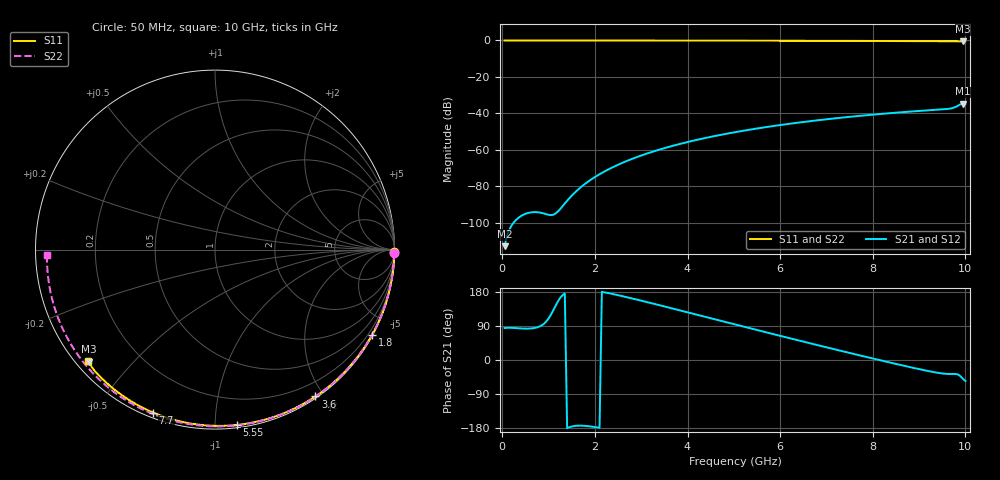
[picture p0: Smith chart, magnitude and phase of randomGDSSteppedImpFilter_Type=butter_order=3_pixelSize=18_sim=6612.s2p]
! freq	dB(S11)	phase(S11)	dB(S12)	phase(S12)
!  dB(S21)	phase(S21)	dB(S22)	phase(S22)
!S-par simulation data
#  GHz  S  DB  R 50
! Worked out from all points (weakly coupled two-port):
!   200 points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, 50 MHz to 10 GHz, reference 50 ohm
!   highest |S21| = -34.70 dB at 9.95 GHz (marker M1); lowest = -112.9 dB at 50 MHz (marker M2)
!   lowest |S11| = -0.5 dB at 9.95 GHz (marker M3), VSWR 32.25, Z = 1.78 - j19 ohm
!   |S11| at or under -10 dB: nowhere
!   |S22| runs from -0.6 to 0.0 dB; largest |S21 - S12| = 0
!   S11 on the Smith chart (normalised r, x): 50 MHz: open; 1.8 GHz: 0.03, -3.94; 3.6 GHz: 0.02, -1.90; 5.55 GHz: 0.02, -1.13; 7.7 GHz: 0.02, -0.69; 10 GHz: 0.04, -0.38
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0.05  -0.01 -0.8  -112.91 84.4  -112.91 84.4  -0.01 -1.1
0.85  -0.02 -13.6  -94.66 91.3  -94.66 91.3  -0.02 -17.8
1.7  -0.03 -26.9  -80.46 -173.3  -80.46 -173.3  -0.04 -35.2
1.75  -0.04 -27.7  -79.44 -173.5  -79.44 -173.5  -0.05 -36.3
1.8  -0.04 -28.5  -78.46 -173.9  -78.46 -173.9  -0.05 -37.3
2.1  -0.04 -33.1  -73.43 -179.0  -73.43 -179.0  -0.06 -43.3
2.5  -0.05 -39.2  -68.22 171.0  -68.22 171.0  -0.07 -51.1
2.9  -0.06 -45.3  -64.07 159.6  -64.07 159.6  -0.08 -58.9
3.4  -0.07 -52.7  -59.85 144.4  -59.85 144.4  -0.09 -68.3
3.6  -0.07 -55.6  -58.39 138.3  -58.39 138.3  -0.10 -72.0
4.3  -0.09 -65.7  -54.00 116.5  -54.00 116.5  -0.12 -84.7
5.05  -0.12 -76.2  -50.24 93.1  -50.24 93.1  -0.15 -97.8
5.55  -0.14 -83.0  -48.12 77.6  -48.12 77.6  -0.17 -106.3
6.7  -0.19 -98.1  -44.14 42.5  -44.14 42.5  -0.24 -125.1
7.7  -0.25 -110.8  -41.43 12.7  -41.43 12.7  -0.32 -141.1
8.35  -0.30 -118.9  -39.96 -6.1  -39.96 -6.1  -0.38 -151.4
9  -0.36 -126.8  -38.69 -24.1  -38.69 -24.1  -0.45 -161.8
9.65  -0.43 -134.9  -37.47 -37.0  -37.47 -37.0  -0.53 -172.3
9.75  -0.45 -136.2  -36.91 -36.9  -36.91 -36.9  -0.54 -173.9
9.9  -0.54 -137.9  -34.94 -43.7  -34.94 -43.7  -0.55 -176.4
9.95  -0.54 -138.3  -34.70 -50.1  -34.70 -50.1  -0.55 -177.2
10  -0.53 -138.8  -34.85 -55.3  -34.85 -55.3  -0.55 -178.1
